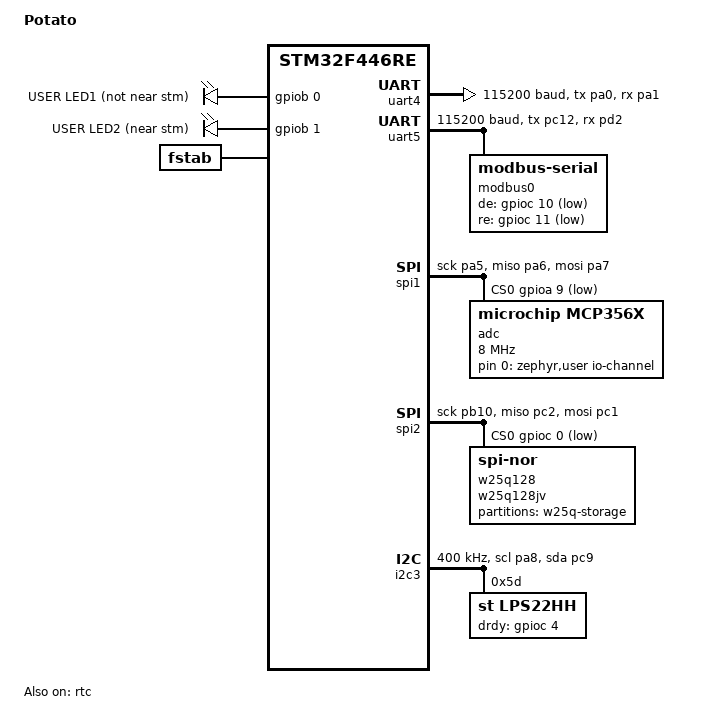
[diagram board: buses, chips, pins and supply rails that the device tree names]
/*
 * Copyright (c) 2024 RIT Launch Initiative
 *
 * SPDX-License-Identifier: Apache-2.0
 */

/dts-v1/;
#include <st/f4/stm32f446Xe.dtsi>
#include <st/f4/stm32f446r(c-e)tx-pinctrl.dtsi>
#include <zephyr/dt-bindings/input/input-event-codes.h>

/ {
    model = "Potato";
    compatible = "st,stm32f446re-nucleo";

    zephyr,user {
        io-channels = <&adc 0>;
    };

    chosen {
        zephyr,sram = &sram0;
        zephyr,flash = &flash0;
        zephyr,console = &uart4;
        zephyr,shell-uart = &uart4;

        zephyr,uart-pipe = &uart5;

        storage = &w25q128;
        logfs = &lfs1;
    };

    leds: leds {
        compatible = "gpio-leds";

        led1: led1 {
            gpios = <&gpiob 0 GPIO_ACTIVE_HIGH>;
            label = "USER LED1 (not near stm)";
        };

        led2: led2 {
            gpios = <&gpiob 1 GPIO_ACTIVE_HIGH>;
            label = "USER LED2 (near stm)";
        };

    };

    fstab {
        compatible = "zephyr,fstab";

        lfs1: lfs1 {
            compatible = "zephyr,fstab,littlefs";
            mount-point = "/lfs";
            partition = <&external_storage_partition>;
            automount;

            read-size = <16>;
            prog-size = <16>;
            cache-size = <64>;
            lookahead-size = <32>;
            block-cycles = <(90 * 1000)>;
        };
    };

    aliases {
    };
};

&clk_lsi {
    status = "okay";
};

&clk_hsi {
    clock-frequency = <DT_FREQ_M(16)>;
    status = "okay";
};

&rcc {
    clocks = <&clk_hsi>;
    clock-frequency = <DT_FREQ_M(16)>;
    ahb-prescaler = <1>;
    apb1-prescaler = <2>;
    apb2-prescaler = <1>;
};

&uart4 {
    pinctrl-0 = <&uart4_tx_pa0 &uart4_rx_pa1>;
    pinctrl-names = "default";
    current-speed = <115200>;
    status = "okay";
};

&uart5 {
    pinctrl-0 = <&uart5_tx_pc12 &uart5_rx_pd2>;
    pinctrl-names = "default";
    current-speed = <115200>;
    status = "okay";

    modbus0 {
        compatible = "zephyr,modbus-serial";
        status = "okay";

        de-gpios = <&gpioc 10 GPIO_ACTIVE_LOW>;
        re-gpios = <&gpioc 11 GPIO_ACTIVE_LOW>;
    };
};

&spi1 {
    pinctrl-0 = <&spi1_sck_pa5 &spi1_miso_pa6 &spi1_mosi_pa7>;
    cs-gpios = <&gpioa 9 GPIO_ACTIVE_LOW>;

    pinctrl-names = "default";
    status = "okay";


    adc: mcp3561@0 {
        #io-channel-cells = <1>;
        #address-cells = <1>;
        #size-cells = <0>;

        status = "okay";
        compatible = "microchip,mcp356x";
        reg = <0>;
        device-address = <1>;
        clock-selection = "CLK_INTERNAL";
        prescale = "PRE_1";
        spi-max-frequency = <DT_FREQ_M(8)>; // pg. 12, Table 1.1 MAX 20MHz


        channel@0 {
            reg = <0>;
            zephyr,gain = "ADC_GAIN_1";
            zephyr,reference = "ADC_REF_INTERNAL";
            zephyr,acquisition-time = <ADC_ACQ_TIME_DEFAULT>;

            zephyr,resolution = <24>;

            zephyr,input-positive = <0x0>;
            zephyr,input-negative = <0x1>;
        };
    };
};

&spi2 {
    pinctrl-0 = <&spi2_sck_pb10 &spi2_miso_pc2 &spi2_mosi_pc1>;
    cs-gpios = <&gpioc 0 GPIO_ACTIVE_LOW>;

    pinctrl-names = "default";
    status = "okay";

    w25q128: w25q128jv@0 {
        compatible = "jedec,spi-nor";
        reg = <0>;

        spi-max-frequency = <(10 * 1000 * 1000)>;
        size = <DT_SIZE_M(128)>;
        jedec-id = [ ef 40 18  ];

        has-dpd;
        t-enter-dpd = <(3 * 1000)>;
        t-exit-dpd = <(3 * 1000)>;

        partitions {
            compatible = "fixed-partitions";
            #address-cells = <1>;
            #size-cells = <1>;

            external_storage_partition: partition@0 {
                label = "w25q-storage";
                reg = <0 DT_SIZE_M(16)>;
            };
        };
    };
};

&i2c3 {
    pinctrl-0 = <&i2c3_scl_pa8 &i2c3_sda_pc9>;
    pinctrl-names = "default";
    status = "okay";
    clock-frequency = <I2C_BITRATE_FAST>;

    lps22hh: lps22hh@5d {
        status = "okay";
        compatible = "st,lps22hh";
        reg = <0x5d>;
        odr = <6>;

        drdy-gpios = <&gpioc 4 GPIO_ACTIVE_HIGH>;
    };
};

&rtc {
    clocks = <&rcc STM32_CLOCK_BUS_APB1 0x10000000>,
             <&rcc STM32_SRC_LSI RTC_SEL(2)>;
    status = "okay";
};

&backup_sram {
    status = "okay";
};

&flash0 {
    partitions {
        compatible = "fixed-partitions";
        #address-cells = <1>;
        #size-cells = <1>;

        boot_partition: partition@0 {
            label = "mcuboot";
            reg = <0x00000000 DT_SIZE_K(64)>;
            read-only;
        };

        /*
         * The flash starting at 0x00010000 and ending at
         * 0x0001ffff (sectors 16-31) is reserved for use
         * by the application.
         */
        storage_partition: partition@10000 {
            label = "storage";
            reg = <0x00010000 DT_SIZE_K(64)>;
        };

        slot0_partition: partition@20000 {
            label = "image-0";
            reg = <0x00020000 DT_SIZE_K(128)>;
        };

        slot1_partition: partition@40000 {
            label = "image-1";
            reg = <0x00040000 DT_SIZE_K(128)>;
        };

        scratch_partition: partition@60000 {
            label = "image-scratch";
            reg = <0x00060000 DT_SIZE_K(128)>;
        };
    };
};
